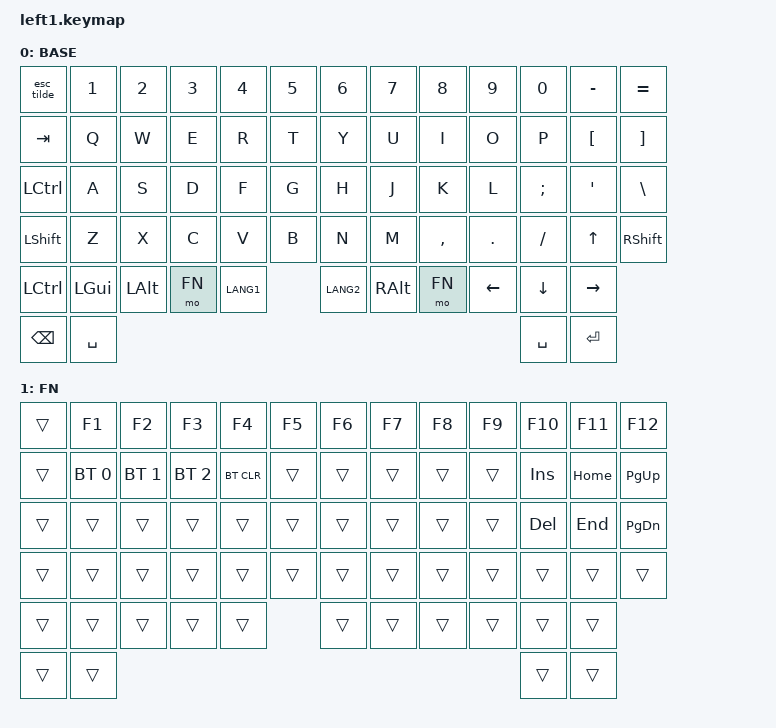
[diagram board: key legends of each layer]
/*
 * SPDX-License-Identifier: MIT
 */

#include <behaviors.dtsi>
#include <dt-bindings/zmk/keys.h>
#include <dt-bindings/zmk/bt.h>       /* BT操作したいなら */

#define BASE 0
#define FN   1

/ {
  behaviors {
    /* Shift + Esc => ~ （Shiftを保持したまま GRAVE を送る） */
    esc_tilde: esc_tilde {
      compatible = "zmk,behavior-mod-morph";
      #binding-cells = <0>;
      bindings = <&kp ESC>, <&kp GRAVE>;
      mods = <(MOD_LSFT|MOD_RSFT)>;
      keep-mods = <(MOD_LSFT|MOD_RSFT)>;
    };
  };

  keymap {
    compatible = "zmk,keymap";

    /* ========== BASE (第1レイヤー) ==========
     * 並び順は、あなたが提示した default_transform の map の順番（行ごと）に一致
     */
    base_layer {
      display-name = "BASE";
      bindings = <
        /* Row0: SW1 SW2 SW3 SW4 SW5 SW6  |  SW6 SW5 SW4 SW3 SW2 SW1 SW34 */
        &esc_tilde  &kp N1  &kp N2  &kp N3  &kp N4  &kp N5    &kp N6  &kp N7  &kp N8  &kp N9  &kp N0  &kp MINUS  &kp EQUAL

        /* Row1: SW7 SW8 SW9 SW10 SW11 SW12 | SW12 SW11 SW10 SW9 SW8 SW7 SW35 */
        &kp TAB     &kp Q   &kp W   &kp E   &kp R   &kp T     &kp Y   &kp U   &kp I   &kp O   &kp P   &kp LBKT   &kp RBKT

        /* Row2: SW13 SW14 SW15 SW16 SW17 SW18 | SW18 SW17 SW16 SW15 SW14 SW13 SW36 */
        &kp LCTRL   &kp A   &kp S   &kp D   &kp F   &kp G     &kp H   &kp J   &kp K   &kp L   &kp SEMI &kp SQT   &kp BSLH

        /* Row3: SW19 SW20 SW21 SW22 SW23 SW24 | SW24 SW23 SW22 SW21 SW20 SW19 SW37 */
        &kp LSHIFT  &kp Z   &kp X   &kp C   &kp V   &kp B     &kp N   &kp M   &kp COMMA &kp DOT &kp SLASH &kp UP   &kp RSHIFT

        /* Row4: SW25 SW26 SW27 SW28 SW29 | SW29 SW28 SW27 SW26 SW25 SW38 */
        &kp LCTRL   &kp LGUI &kp LALT &mo FN &kp LANG1         &kp LANG2 &kp RALT &mo FN &kp LEFT &kp DOWN &kp RIGHT

        /* Row5: SW30 .... SW31 | SW31 .... SW30 */
        &kp BSPC                                &kp SPACE  &kp SPACE                               &kp ENTER
      >;
    };

    /* ========== FN (第3レイヤー: Fn同時押し) ========== */
    fn_layer {
      display-name = "FN";
      bindings = <
        /* Row0: F1-F12（画像の下段表示に対応） */
        &trans  &kp F1  &kp F2  &kp F3  &kp F4  &kp F5   &kp F6  &kp F7  &kp F8  &kp F9  &kp F10 &kp F11 &kp F12

        /* Row1: P=INS, [=HOME, ]=PGUP */
        &trans  &bt BT_SEL 0  &bt BT_SEL 1  &bt BT_SEL 2  &bt BT_CLR  &trans   &trans  &trans  &trans  &trans  &kp INS  &kp HOME &kp PG_UP

        /* Row2: ;=DEL, '=END, \=PGDN */
        &trans  &trans  &trans  &trans  &trans  &trans   &trans  &trans  &trans  &trans  &kp DEL  &kp END  &kp PG_DN

        /* Row3: ここは指定が無いので透過 */
        &trans  &trans  &trans  &trans  &trans  &trans   &trans  &trans  &trans  &trans  &trans   &trans   &trans

        /* Row4: ここも基本透過（LANG/FN/矢印はそのままでも良いので透過） */
        &trans  &trans  &trans  &trans  &trans            &trans  &trans  &trans  &trans  &trans   &trans

        /* Row5: 透過 */
        &trans                                &trans  &trans                               &trans
      >;
    };
  };
};
